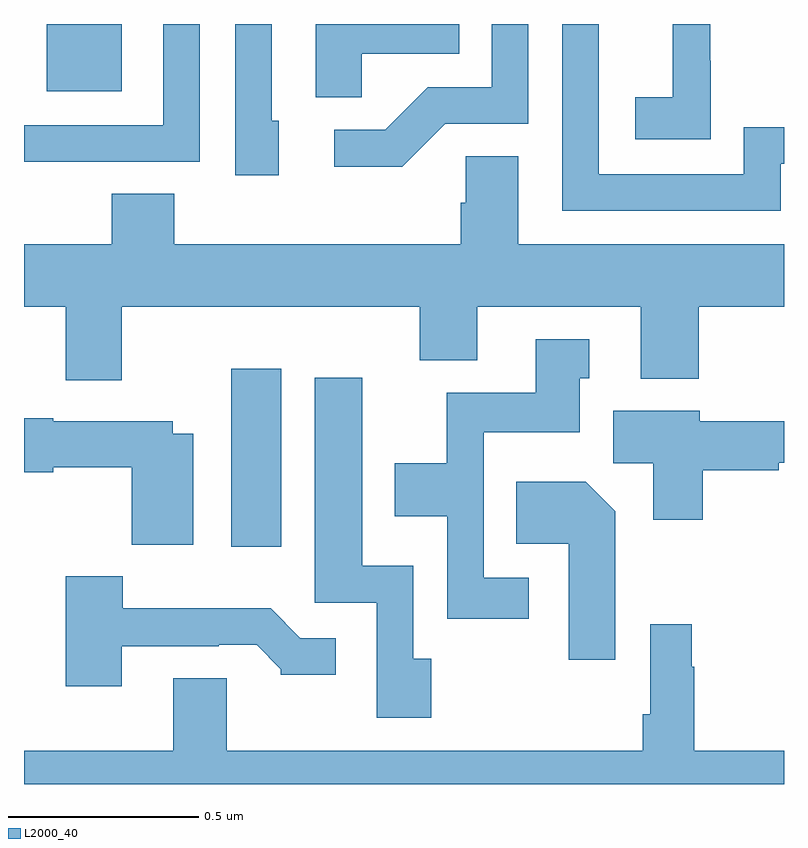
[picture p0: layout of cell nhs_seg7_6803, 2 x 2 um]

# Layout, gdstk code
import gdstk
lib = gdstk.Library(unit=1e-6, precision=1e-09)
def R(c, l, rs):  # rectangles x0, y0, x1, y1
    for r in rs: c.add(gdstk.rectangle(r[:2], r[2:], *l))
def P(c, l, *ps):  # polygons
    for p in ps: c.add(gdstk.Polygon(p, *l))
L2000_40 = (2000, 40)

nhs_seg7_6803 = lib.new_cell('nhs_seg7_6803')
R(nhs_seg7_6803, L2000_40, [(203.546,1026.624,203.677,1027.093), (203.06,1027.823,203.257,1028)])
P(nhs_seg7_6803, L2000_40, [(203.147,1027.638),(203.463,1027.638),(203.463,1028),(203.367,1028),(203.367,1027.734),(203,1027.734),(203,1027.637),(203.147,1027.637)],
  [(203.889,1027.922),(204.146,1027.922),(204.146,1028),(203.768,1028),(203.768,1027.807),(203.889,1027.807)],
  [(204.991,1027.632),(205,1027.632),(205,1027.728),(204.894,1027.728),(204.894,1027.605),(204.513,1027.605),(204.513,1028),(204.417,1028),(204.417,1027.509),(204.991,1027.509)],
  [(203.671,1027.746),(203.652,1027.746),(203.652,1028),(203.556,1028),(203.556,1027.602),(203.671,1027.602)],
  [(204.807,1027.903),(204.806,1027.903),(204.806,1028),(204.707,1028),(204.707,1027.807),(204.609,1027.807),(204.609,1027.697),(204.807,1027.697)],
  [(204.108,1027.737),(204.327,1027.737),(204.327,1028),(204.231,1028),(204.231,1027.833),(204.062,1027.833),(203.951,1027.722),(203.817,1027.722),(203.817,1027.625),(203.995,1027.625)],
  [(203.257,1027.256),(204.041,1027.256),(204.041,1027.115),(204.193,1027.115),(204.193,1027.256),(204.623,1027.256),(204.623,1027.067),(204.776,1027.067),(204.776,1027.256),(205,1027.256),(205,1027.42),(204.301,1027.42),(204.301,1027.652),(204.162,1027.652),(204.162,1027.529),(204.149,1027.529),(204.149,1027.42),(203.396,1027.42),(203.396,1027.553),(203.231,1027.553),(203.231,1027.42),(203,1027.42),(203,1027.256),(203.11,1027.256),(203.11,1027.062),(203.257,1027.062)],
  [(204.328,1026.543),(204.21,1026.543),(204.21,1026.926),(204.463,1026.926),(204.463,1027.068),(204.487,1027.068),(204.487,1027.171),(204.347,1027.171),(204.347,1027.03),(204.112,1027.03),(204.112,1026.844),(203.975,1026.844),(203.975,1026.704),(204.114,1026.704),(204.114,1026.435),(204.328,1026.435)],
  [(204.072,1026.33),(204.024,1026.33),(204.024,1026.574),(203.89,1026.574),(203.89,1027.069),(203.765,1027.069),(203.765,1026.477),(203.928,1026.477),(203.928,1026.174),(204.072,1026.174)],
  [(204.786,1026.826),(204.986,1026.826),(204.986,1026.846),(205,1026.846),(205,1026.955),(204.778,1026.955),(204.778,1026.982),(204.551,1026.982),(204.551,1026.844),(204.656,1026.844),(204.656,1026.696),(204.786,1026.696)],
  [(203.446,1026.922),(203.391,1026.922),(203.391,1026.955),(203.077,1026.955),(203.077,1026.963),(203,1026.963),(203,1026.821),(203.077,1026.821),(203.077,1026.833),(203.284,1026.833),(203.284,1026.629),(203.446,1026.629)],
  [(204.556,1026.718),(204.478,1026.796),(204.295,1026.796),(204.295,1026.632),(204.434,1026.632),(204.434,1026.327),(204.556,1026.327)],
  [(203.257,1026.363),(203.513,1026.363),(203.513,1026.366),(203.612,1026.366),(203.676,1026.302),(203.676,1026.287),(203.821,1026.287),(203.821,1026.384),(203.727,1026.384),(203.649,1026.463),(203.26,1026.463),(203.26,1026.547),(203.11,1026.547),(203.11,1026.257),(203.257,1026.257)],
  [(205,1026.088),(204.764,1026.088),(204.764,1026.308),(204.757,1026.308),(204.757,1026.421),(204.648,1026.421),(204.648,1026.184),(204.628,1026.184),(204.628,1026.088),(203.533,1026.088),(203.533,1026.278),(203.393,1026.278),(203.393,1026.088),(203,1026.088),(203,1026),(205,1026)])

lib.write_gds('nhs_seg7_6803.gds')
